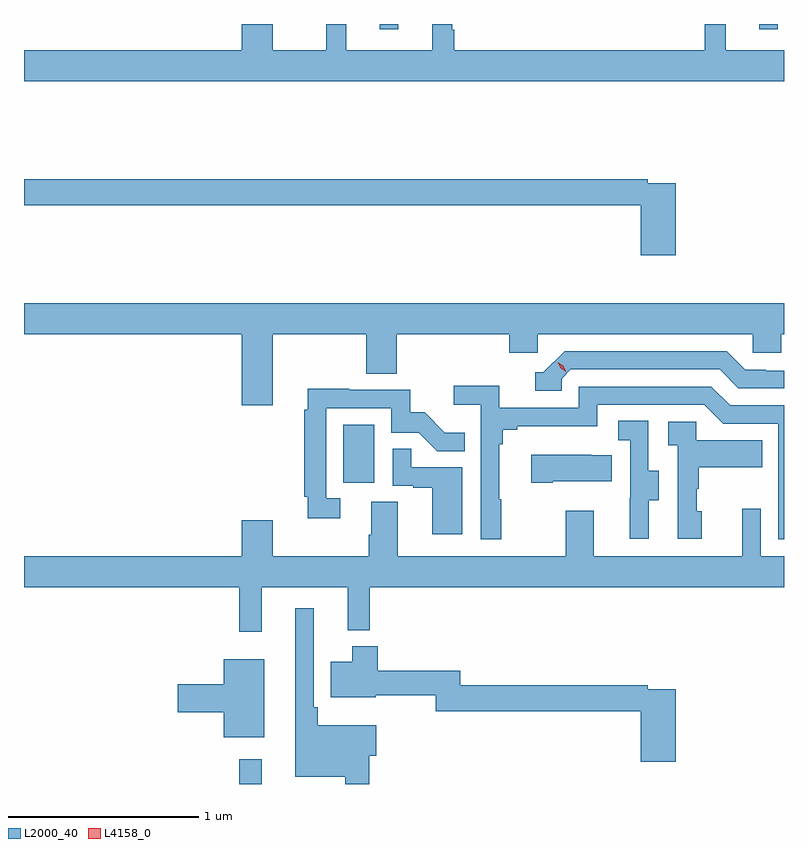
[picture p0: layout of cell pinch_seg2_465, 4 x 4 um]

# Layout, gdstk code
import gdstk
lib = gdstk.Library(unit=1e-6, precision=1e-09)
def R(c, l, rs):  # rectangles x0, y0, x1, y1
    for r in rs: c.add(gdstk.rectangle(r[:2], r[2:], *l))
def P(c, l, *ps):  # polygons
    for p in ps: c.add(gdstk.Polygon(p, *l))
L2000_40 = (2000, 40)
L4158_0 = (4158, 0)

pinch_seg2_465 = lib.new_cell('pinch_seg2_465')
R(pinch_seg2_465, L2000_40, [(920.239,591.989,920.356,592.12), (920.786,593.574,920.95,593.881), (920.978,595.962,921.075,595.989), (922.976,595.962,923.073,595.989)])
P(pinch_seg2_465, L2000_40, [(923.106,595.852),(922.799,595.852),(922.799,595.989),(922.689,595.989),(922.689,595.852),(921.371,595.852),(921.371,595.959),(921.359,595.959),(921.359,595.989),(921.254,595.989),(921.254,595.852),(920.801,595.852),(920.801,595.989),(920.698,595.989),(920.698,595.852),(920.416,595.852),(920.416,595.989),(920.252,595.989),(920.252,595.852),(919.106,595.852),(919.106,595.688),(923.106,595.688)],
  [(922.535,595.152),(922.388,595.152),(922.388,595.172),(919.106,595.172),(919.106,595.036),(922.352,595.036),(922.352,594.771),(922.535,594.771)],
  [(920.416,594.356),(920.908,594.356),(920.908,594.148),(921.068,594.148),(921.068,594.356),(921.659,594.356),(921.659,594.258),(921.81,594.258),(921.81,594.356),(922.941,594.356),(922.941,594.258),(923.091,594.258),(923.091,594.356),(923.106,594.356),(923.106,594.52),(919.106,594.52),(919.106,594.356),(920.252,594.356),(920.252,593.982),(920.416,593.982)],
  [(921.936,594.123),(921.984,594.171),(922.767,594.171),(922.866,594.072),(923.106,594.072),(923.106,594.165),(923.01,594.165),(923.01,594.168),(922.903,594.168),(922.804,594.267),(921.951,594.267),(921.84,594.156),(921.797,594.156),(921.797,594.06),(921.936,594.06)],
  [(921.619,593.489),(921.607,593.489),(921.607,593.777),(921.626,593.777),(921.626,593.854),(921.703,593.854),(921.703,593.873),(922.122,593.873),(922.122,593.985),(922.686,593.985),(922.785,593.886),(923.076,593.886),(923.076,593.277),(923.106,593.277),(923.106,593.982),(922.822,593.982),(922.723,594.081),(922.026,594.081),(922.026,593.97),(921.608,593.97),(921.608,594.086),(921.369,594.086),(921.369,593.984),(921.51,593.984),(921.51,593.277),(921.619,593.277)],
  [(920.77,593.493),(920.697,593.493),(920.697,593.967),(921.039,593.967),(921.039,593.838),(921.183,593.838),(921.281,593.74),(921.425,593.74),(921.425,593.839),(921.321,593.839),(921.214,593.946),(921.138,593.946),(921.138,594.063),(920.819,594.063),(920.819,594.068),(920.6,594.068),(920.6,593.96),(920.581,593.96),(920.581,593.5),(920.6,593.5),(920.6,593.388),(920.77,593.388)],
  [(922.393,593.482),(922.447,593.482),(922.447,593.637),(922.392,593.637),(922.392,593.9),(922.233,593.9),(922.233,593.797),(922.296,593.797),(922.296,593.493),(922.295,593.493),(922.295,593.28),(922.393,593.28)],
  [(922.672,593.424),(922.647,593.424),(922.647,593.543),(922.657,593.543),(922.657,593.657),(922.991,593.657),(922.991,593.797),(922.644,593.797),(922.644,593.895),(922.497,593.895),(922.497,593.771),(922.548,593.771),(922.548,593.28),(922.672,593.28)],
  [(921.412,593.655),(921.143,593.655),(921.143,593.753),(921.048,593.753),(921.048,593.559),(921.155,593.559),(921.155,593.547),(921.254,593.547),(921.254,593.304),(921.412,593.304)],
  [(921.889,593.582),(922.199,593.582),(922.199,593.719),(922.091,593.719),(922.091,593.722),(921.777,593.722),(921.777,593.575),(921.889,593.575)],
  [(920.357,593.024),(920.81,593.024),(920.81,592.799),(920.927,592.799),(920.927,593.024),(923.106,593.024),(923.106,593.188),(922.983,593.188),(922.983,593.437),(922.886,593.437),(922.886,593.188),(922.105,593.188),(922.105,593.428),(921.958,593.428),(921.958,593.188),(921.073,593.188),(921.073,593.474),(920.933,593.474),(920.933,593.3),(920.921,593.3),(920.921,593.188),(920.416,593.188),(920.416,593.377),(920.252,593.377),(920.252,593.188),(919.106,593.188),(919.106,593.024),(920.239,593.024),(920.239,592.791),(920.357,592.791)],
  [(920.924,592.139),(920.959,592.139),(920.959,592.297),(920.651,592.297),(920.651,592.393),(920.631,592.393),(920.631,592.915),(920.534,592.915),(920.534,592.028),(920.796,592.028),(920.796,591.989),(920.924,591.989)],
  [(922.535,592.488),(922.388,592.488),(922.388,592.508),(921.401,592.508),(921.401,592.585),(920.969,592.585),(920.969,592.714),(920.834,592.714),(920.834,592.633),(920.72,592.633),(920.72,592.445),(920.956,592.445),(920.956,592.456),(921.273,592.456),(921.273,592.372),(922.352,592.372),(922.352,592.107),(922.535,592.107)],
  [(920.371,592.645),(920.156,592.645),(920.156,592.514),(919.914,592.514),(919.914,592.367),(920.156,592.367),(920.156,592.235),(920.371,592.235)])
P(pinch_seg2_465, L4158_0, [(921.961,594.158),(921.93,594.177),(921.914,594.21),(921.914,594.21),(921.914,594.21),(921.945,594.191),(921.961,594.158),(921.961,594.158)])

lib.write_gds('pinch_seg2_465.gds')
